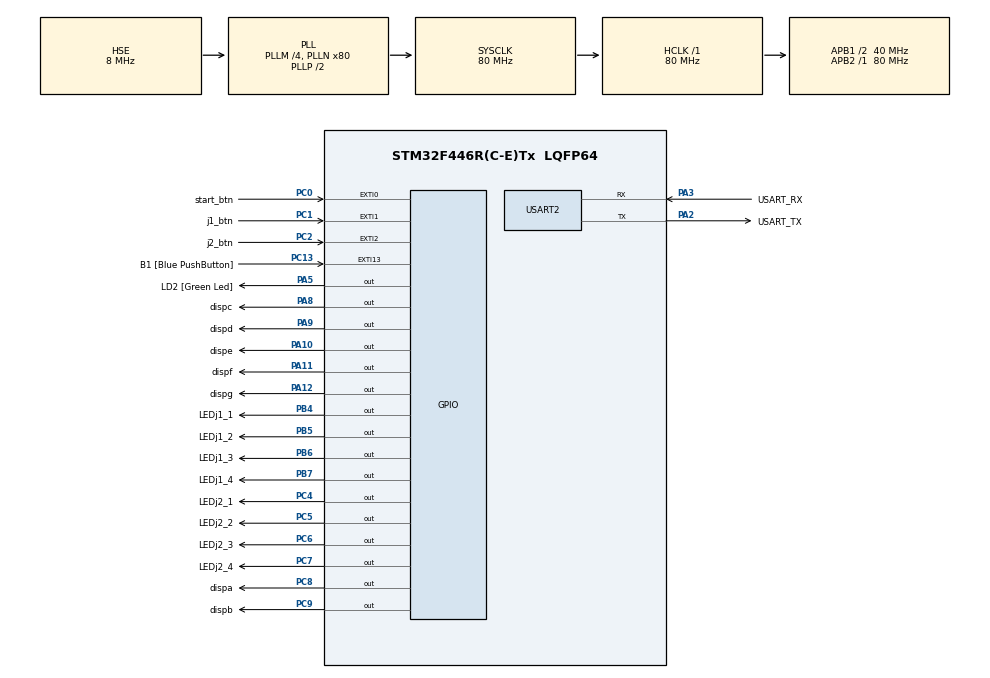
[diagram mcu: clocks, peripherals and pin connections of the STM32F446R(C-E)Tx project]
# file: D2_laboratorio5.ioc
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Mcu.Family=STM32F4
Mcu.Name=STM32F446R(C-E)Tx
Mcu.Package=LQFP64
NVIC.EXTI0_IRQn=true\:0\:0\:false\:false\:true\:true\:true\:true
NVIC.EXTI1_IRQn=true\:0\:0\:true\:false\:true\:true\:true\:true
NVIC.EXTI2_IRQn=true\:0\:0\:false\:false\:true\:true\:true\:true
NVIC.PriorityGroup=NVIC_PRIORITYGROUP_0
PA10.GPIO_Label=dispe
PA10.Signal=GPIO_Output
PA11.GPIO_Label=dispf
PA11.Signal=GPIO_Output
PA12.GPIO_Label=dispg
PA12.Signal=GPIO_Output
PA13.GPIO_Label=TMS
PA13.Mode=Serial_Wire
PA13.Signal=SYS_JTMS-SWDIO
PA14.GPIO_Label=TCK
PA14.Mode=Serial_Wire
PA14.Signal=SYS_JTCK-SWCLK
PA2.GPIO_Label=USART_TX
PA2.Mode=Asynchronous
PA2.Signal=USART2_TX
PA3.GPIO_Label=USART_RX
PA3.Mode=Asynchronous
PA3.Signal=USART2_RX
PA5.GPIO_Label=LD2 [Green Led]
PA5.Signal=GPIO_Output
PA8.GPIO_Label=dispc
PA8.Signal=GPIO_Output
PA9.GPIO_Label=dispd
PA9.Signal=GPIO_Output
PB3.GPIO_Label=SWO
PB3.Signal=SYS_JTDO-SWO
PB4.GPIO_Label=LEDj1_1
PB4.Signal=GPIO_Output
PB5.GPIO_Label=LEDj1_2
PB5.Signal=GPIO_Output
PB6.GPIO_Label=LEDj1_3
PB6.Signal=GPIO_Output
PB7.GPIO_Label=LEDj1_4
PB7.Signal=GPIO_Output
PC0.GPIO_Label=start_btn
PC0.GPIO_ModeDefaultEXTI=GPIO_MODE_IT_FALLING
PC0.GPIO_PuPd=GPIO_PULLUP
PC0.Signal=GPXTI0
PC1.GPIO_Label=j1_btn
PC1.GPIO_ModeDefaultEXTI=GPIO_MODE_IT_FALLING
PC1.GPIO_PuPd=GPIO_PULLUP
PC1.Signal=GPXTI1
PC13.GPIO_Label=B1 [Blue PushButton]
PC13.GPIO_ModeDefaultEXTI=GPIO_MODE_IT_FALLING
PC13.Signal=GPXTI13
PC14-OSC32_IN.Mode=LSE-External-Oscillator
PC14-OSC32_IN.Signal=RCC_OSC32_IN
PC15-OSC32_OUT.Mode=LSE-External-Oscillator
PC15-OSC32_OUT.Signal=RCC_OSC32_OUT
PC2.GPIO_Label=j2_btn
PC2.GPIO_ModeDefaultEXTI=GPIO_MODE_IT_FALLING
PC2.GPIO_PuPd=GPIO_PULLUP
PC2.Signal=GPXTI2
PC4.GPIO_Label=LEDj2_1
PC4.Signal=GPIO_Output
PC5.GPIO_Label=LEDj2_2
PC5.Signal=GPIO_Output
PC6.GPIO_Label=LEDj2_3
PC6.Signal=GPIO_Output
PC7.GPIO_Label=LEDj2_4
PC7.Signal=GPIO_Output
PC8.GPIO_Label=dispa
PC8.Signal=GPIO_Output
PC9.GPIO_Label=dispb
PC9.Signal=GPIO_Output
PH0-OSC_IN.Mode=HSE-External-Oscillator
PH0-OSC_IN.Signal=RCC_OSC_IN
PH1-OSC_OUT.Mode=HSE-External-Oscillator
PH1-OSC_OUT.Signal=RCC_OSC_OUT
ProjectManager.HeapSize=0x200
ProjectManager.StackSize=0x400
ProjectManager.TargetToolchain=STM32CubeIDE
RCC.48MHZClocksFreq_Value=84000000
RCC.AHBFreq_Value=80000000
RCC.APB1CLKDivider=RCC_HCLK_DIV2
RCC.APB1Freq_Value=40000000
RCC.APB1TimFreq_Value=80000000
RCC.APB2Freq_Value=80000000
RCC.APB2TimFreq_Value=80000000
RCC.CortexFreq_Value=80000000
RCC.FLatency-AdvancedSettings=FLASH_LATENCY_2
RCC.HCLKFreq_Value=80000000
RCC.HSE_VALUE=8000000
RCC.HSI_VALUE=16000000
RCC.PLLM=4
RCC.PLLN=80
RCC.PLLSourceVirtual=RCC_PLLSOURCE_HSE
RCC.SYSCLKFreq_VALUE=80000000
RCC.SYSCLKSource=RCC_SYSCLKSOURCE_PLLCLK
RCC.USBFreq_Value=80000000
RCC.VCOOutputFreq_Value=160000000
USART2.VirtualMode=VM_ASYNC
board=NUCLEO-F446RE

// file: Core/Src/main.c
/* USER CODE BEGIN Header */
/**
  ******************************************************************************
  * @file           : main.c
  * @brief          : Main program body
  ******************************************************************************
  * @attention
  *
  * Copyright (c) 2025 STMicroelectronics.
  * All rights reserved.
  *
  * This software is licensed under terms that can be found in the LICENSE file
  * in the root directory of this software component.
  * If no LICENSE file comes with this software, it is provided AS-IS.
  *
  ******************************************************************************
  */
/* USER CODE END Header */
#include "main.h"

UART_HandleTypeDef huart2;

/* USER CODE BEGIN PV */
uint16_t estado=0;
uint16_t start=0;
uint16_t sumar1=0;
uint16_t sumar2=0;
uint16_t contador_j1=0;
uint16_t contador_j2=0;
uint16_t disp=5;
/* USER CODE END PV */

void SystemClock_Config(void);
static void MX_GPIO_Init(void);
static void MX_USART2_UART_Init(void);
/* USER CODE BEGIN PFP */
void display(uint16_t numero);
/* USER CODE END PFP */

/* USER CODE BEGIN 0 */
void display(uint16_t numero){
	switch(numero){
	case 1:
		HAL_GPIO_WritePin(dispb_GPIO_Port, dispb_Pin, GPIO_PIN_SET);
		HAL_GPIO_WritePin(dispc_GPIO_Port, dispc_Pin, GPIO_PIN_SET);

		HAL_GPIO_WritePin(dispa_GPIO_Port, dispa_Pin, GPIO_PIN_RESET);
		HAL_GPIO_WritePin(dispf_GPIO_Port, dispf_Pin, GPIO_PIN_RESET);
		HAL_GPIO_WritePin(dispd_GPIO_Port, dispd_Pin, GPIO_PIN_RESET);
		HAL_GPIO_WritePin(dispe_GPIO_Port, dispe_Pin, GPIO_PIN_RESET);
		HAL_GPIO_WritePin(dispg_GPIO_Port, dispg_Pin, GPIO_PIN_RESET);
		break;
	case 2:
		HAL_GPIO_WritePin(dispa_GPIO_Port, dispa_Pin, GPIO_PIN_SET);
		HAL_GPIO_WritePin(dispb_GPIO_Port, dispb_Pin, GPIO_PIN_SET);
		HAL_GPIO_WritePin(dispd_GPIO_Port, dispd_Pin, GPIO_PIN_SET);
		HAL_GPIO_WritePin(dispe_GPIO_Port, dispe_Pin, GPIO_PIN_SET);
		HAL_GPIO_WritePin(dispg_GPIO_Port, dispg_Pin, GPIO_PIN_SET);

		HAL_GPIO_WritePin(dispc_GPIO_Port, dispc_Pin, GPIO_PIN_RESET);
		HAL_GPIO_WritePin(dispf_GPIO_Port, dispf_Pin, GPIO_PIN_RESET);
		break;
	case 3:
		HAL_GPIO_WritePin(dispa_GPIO_Port, dispa_Pin, GPIO_PIN_SET);
		HAL_GPIO_WritePin(dispb_GPIO_Port, dispb_Pin, GPIO_PIN_SET);
		HAL_GPIO_WritePin(dispc_GPIO_Port, dispc_Pin, GPIO_PIN_SET);
		HAL_GPIO_WritePin(dispd_GPIO_Port, dispd_Pin, GPIO_PIN_SET);
		HAL_GPIO_WritePin(dispg_GPIO_Port, dispg_Pin, GPIO_PIN_SET);

		HAL_GPIO_WritePin(dispe_GPIO_Port, dispe_Pin, GPIO_PIN_RESET);
		HAL_GPIO_WritePin(dispf_GPIO_Port, dispf_Pin, GPIO_PIN_RESET);
		break;
	case 4:
		HAL_GPIO_WritePin(dispb_GPIO_Port, dispb_Pin, GPIO_PIN_SET);
		HAL_GPIO_WritePin(dispc_GPIO_Port, dispc_Pin, GPIO_PIN_SET);
		HAL_GPIO_WritePin(dispf_GPIO_Port, dispf_Pin, GPIO_PIN_SET);
		HAL_GPIO_WritePin(dispg_GPIO_Port, dispg_Pin, GPIO_PIN_SET);

		HAL_GPIO_WritePin(dispa_GPIO_Port, dispa_Pin, GPIO_PIN_RESET);
		HAL_GPIO_WritePin(dispd_GPIO_Port, dispd_Pin, GPIO_PIN_RESET);
		HAL_GPIO_WritePin(dispe_GPIO_Port, dispe_Pin, GPIO_PIN_RESET);
		break;
	case 5:
		HAL_GPIO_WritePin(dispa_GPIO_Port, dispa_Pin, GPIO_PIN_SET);
		HAL_GPIO_WritePin(dispc_GPIO_Port, dispc_Pin, GPIO_PIN_SET);
		HAL_GPIO_WritePin(dispd_GPIO_Port, dispd_Pin, GPIO_PIN_SET);
		HAL_GPIO_WritePin(dispf_GPIO_Port, dispf_Pin, GPIO_PIN_SET);
		HAL_GPIO_WritePin(dispg_GPIO_Port, dispg_Pin, GPIO_PIN_SET);

		HAL_GPIO_WritePin(dispb_GPIO_Port, dispb_Pin, GPIO_PIN_RESET);
		HAL_GPIO_WritePin(dispe_GPIO_Port, dispe_Pin, GPIO_PIN_RESET);
		break;
	case 0:
		HAL_GPIO_WritePin(dispa_GPIO_Port, dispa_Pin, GPIO_PIN_SET);
		HAL_GPIO_WritePin(dispb_GPIO_Port, dispb_Pin, GPIO_PIN_SET);
		HAL_GPIO_WritePin(dispc_GPIO_Port, dispc_Pin, GPIO_PIN_SET);
		HAL_GPIO_WritePin(dispd_GPIO_Port, dispd_Pin, GPIO_PIN_SET);
		HAL_GPIO_WritePin(dispe_GPIO_Port, dispe_Pin, GPIO_PIN_SET);
		HAL_GPIO_WritePin(dispf_GPIO_Port, dispf_Pin, GPIO_PIN_SET);

		HAL_GPIO_WritePin(dispg_GPIO_Port, dispg_Pin, GPIO_PIN_RESET);
		break;
	}
}
/* USER CODE END 0 */

int main(void)
{

  /* MCU Configuration--------------------------------------------------------*/

  /* Reset of all peripherals, Initializes the Flash interface and the Systick. */
  HAL_Init();

  /* Configure the system clock */
  SystemClock_Config();

  /* Initialize all configured peripherals */
  MX_GPIO_Init();
  MX_USART2_UART_Init();

  /* Infinite loop */
  /* USER CODE BEGIN WHILE */
  while (1)
  {
	  if(estado==1){
		  estado=0;
		  for(int i=0;i<6;i++){
			  display(disp);
			  HAL_Delay(1000);
			  disp--;
		  }
		  HAL_GPIO_WritePin(LEDj1_1_GPIO_Port, LEDj1_1_Pin, GPIO_PIN_RESET);
		  HAL_GPIO_WritePin(LEDj1_2_GPIO_Port, LEDj1_2_Pin, GPIO_PIN_RESET);
		  HAL_GPIO_WritePin(LEDj1_3_GPIO_Port, LEDj1_3_Pin, GPIO_PIN_RESET);
		  HAL_GPIO_WritePin(LEDj1_4_GPIO_Port, LEDj1_4_Pin, GPIO_PIN_RESET);
		  HAL_GPIO_WritePin(LEDj2_1_GPIO_Port, LEDj2_1_Pin, GPIO_PIN_RESET);
		  HAL_GPIO_WritePin(LEDj2_2_GPIO_Port, LEDj2_2_Pin, GPIO_PIN_RESET);
		  HAL_GPIO_WritePin(LEDj2_3_GPIO_Port, LEDj2_3_Pin, GPIO_PIN_RESET);
		  HAL_GPIO_WritePin(LEDj2_4_GPIO_Port, LEDj2_4_Pin, GPIO_PIN_RESET);
		  start=1;
	  }
	  if (start==1){
		  if (sumar1==1){
			  contador_j1++;
			  switch(contador_j1){
			  case 1:
				  HAL_GPIO_WritePin(LEDj1_1_GPIO_Port, LEDj1_1_Pin, GPIO_PIN_SET);
				  HAL_GPIO_WritePin(LEDj1_2_GPIO_Port, LEDj1_2_Pin, GPIO_PIN_RESET);
				  HAL_GPIO_WritePin(LEDj1_3_GPIO_Port, LEDj1_3_Pin, GPIO_PIN_RESET);
				  HAL_GPIO_WritePin(LEDj1_4_GPIO_Port, LEDj1_4_Pin, GPIO_PIN_RESET);
				  break;
			  case 2:
				  HAL_GPIO_WritePin(LEDj1_1_GPIO_Port, LEDj1_1_Pin, GPIO_PIN_RESET);
				  HAL_GPIO_WritePin(LEDj1_2_GPIO_Port, LEDj1_2_Pin, GPIO_PIN_SET);
				  HAL_GPIO_WritePin(LEDj1_3_GPIO_Port, LEDj1_3_Pin, GPIO_PIN_RESET);
				  HAL_GPIO_WritePin(LEDj1_4_GPIO_Port, LEDj1_4_Pin, GPIO_PIN_RESET);
				  break;
			  case 3:
				  HAL_GPIO_WritePin(LEDj1_1_GPIO_Port, LEDj1_1_Pin, GPIO_PIN_RESET);
				  HAL_GPIO_WritePin(LEDj1_2_GPIO_Port, LEDj1_2_Pin, GPIO_PIN_RESET);
				  HAL_GPIO_WritePin(LEDj1_3_GPIO_Port, LEDj1_3_Pin, GPIO_PIN_SET);
				  HAL_GPIO_WritePin(LEDj1_4_GPIO_Port, LEDj1_4_Pin, GPIO_PIN_RESET);
				  break;
			  case 4:
				  HAL_GPIO_WritePin(LEDj1_1_GPIO_Port, LEDj1_1_Pin, GPIO_PIN_SET);
				  HAL_GPIO_WritePin(LEDj1_2_GPIO_Port, LEDj1_2_Pin, GPIO_PIN_SET);
				  HAL_GPIO_WritePin(LEDj1_3_GPIO_Port, LEDj1_3_Pin, GPIO_PIN_SET);
				  HAL_GPIO_WritePin(LEDj1_4_GPIO_Port, LEDj1_4_Pin, GPIO_PIN_SET);
				  display(1);
				  start=0;
				  HAL_GPIO_WritePin(LEDj2_1_GPIO_Port, LEDj2_1_Pin, GPIO_PIN_RESET);
				  HAL_GPIO_WritePin(LEDj2_2_GPIO_Port, LEDj2_2_Pin, GPIO_PIN_RESET);
				  HAL_GPIO_WritePin(LEDj2_3_GPIO_Port, LEDj2_3_Pin, GPIO_PIN_RESET);
				  HAL_GPIO_WritePin(LEDj2_4_GPIO_Port, LEDj2_4_Pin, GPIO_PIN_RESET);
				  break;
			  }
			  sumar1=0;
		  }
		  if(sumar2==1){
			  contador_j2++;
			  switch(contador_j2){
			  case 1:
				  HAL_GPIO_WritePin(LEDj2_1_GPIO_Port, LEDj2_1_Pin, GPIO_PIN_SET);
				  HAL_GPIO_WritePin(LEDj2_2_GPIO_Port, LEDj2_2_Pin, GPIO_PIN_RESET);
				  HAL_GPIO_WritePin(LEDj2_3_GPIO_Port, LEDj2_3_Pin, GPIO_PIN_RESET);
				  HAL_GPIO_WritePin(LEDj2_4_GPIO_Port, LEDj2_4_Pin, GPIO_PIN_RESET);
				  break;
			  case 2:
				  HAL_GPIO_WritePin(LEDj2_1_GPIO_Port, LEDj2_1_Pin, GPIO_PIN_RESET);
				  HAL_GPIO_WritePin(LEDj2_2_GPIO_Port, LEDj2_2_Pin, GPIO_PIN_SET);
				  HAL_GPIO_WritePin(LEDj2_3_GPIO_Port, LEDj2_3_Pin, GPIO_PIN_RESET);
				  HAL_GPIO_WritePin(LEDj2_4_GPIO_Port, LEDj2_4_Pin, GPIO_PIN_RESET);
				  break;
			  case 3:
				  HAL_GPIO_WritePin(LEDj2_1_GPIO_Port, LEDj2_1_Pin, GPIO_PIN_RESET);
				  HAL_GPIO_WritePin(LEDj2_2_GPIO_Port, LEDj2_2_Pin, GPIO_PIN_RESET);
				  HAL_GPIO_WritePin(LEDj2_3_GPIO_Port, LEDj2_3_Pin, GPIO_PIN_SET);
				  HAL_GPIO_WritePin(LEDj2_4_GPIO_Port, LEDj2_4_Pin, GPIO_PIN_RESET);
				  break;
			  case 4:
				  HAL_GPIO_WritePin(LEDj2_1_GPIO_Port, LEDj2_1_Pin, GPIO_PIN_SET);
				  HAL_GPIO_WritePin(LEDj2_2_GPIO_Port, LEDj2_2_Pin, GPIO_PIN_SET);
				  HAL_GPIO_WritePin(LEDj2_3_GPIO_Port, LEDj2_3_Pin, GPIO_PIN_SET);
				  HAL_GPIO_WritePin(LEDj2_4_GPIO_Port, LEDj2_4_Pin, GPIO_PIN_SET);
				  display(2);
				  start=0;
				  HAL_GPIO_WritePin(LEDj1_1_GPIO_Port, LEDj1_1_Pin, GPIO_PIN_RESET);
				  HAL_GPIO_WritePin(LEDj1_2_GPIO_Port, LEDj1_2_Pin, GPIO_PIN_RESET);
				  HAL_GPIO_WritePin(LEDj1_3_GPIO_Port, LEDj1_3_Pin, GPIO_PIN_RESET);
				  HAL_GPIO_WritePin(LEDj1_4_GPIO_Port, LEDj1_4_Pin, GPIO_PIN_RESET);
				  break;
			  }
			  sumar2=0;
		  }
	  }
    /* USER CODE END WHILE */

  }
}

void SystemClock_Config(void)
{
  RCC_OscInitTypeDef RCC_OscInitStruct = {0};
  RCC_ClkInitTypeDef RCC_ClkInitStruct = {0};

  /** Configure the main internal regulator output voltage
  */
  __HAL_RCC_PWR_CLK_ENABLE();
  __HAL_PWR_VOLTAGESCALING_CONFIG(PWR_REGULATOR_VOLTAGE_SCALE3);

  /** Initializes the RCC Oscillators according to the specified parameters
  * in the RCC_OscInitTypeDef structure.
  */
  RCC_OscInitStruct.OscillatorType = RCC_OSCILLATORTYPE_HSE;
  RCC_OscInitStruct.HSEState = RCC_HSE_ON;
  RCC_OscInitStruct.PLL.PLLState = RCC_PLL_ON;
  RCC_OscInitStruct.PLL.PLLSource = RCC_PLLSOURCE_HSE;
  RCC_OscInitStruct.PLL.PLLM = 4;
  RCC_OscInitStruct.PLL.PLLN = 80;
  RCC_OscInitStruct.PLL.PLLP = RCC_PLLP_DIV2;
  RCC_OscInitStruct.PLL.PLLQ = 2;
  RCC_OscInitStruct.PLL.PLLR = 2;
  if (HAL_RCC_OscConfig(&RCC_OscInitStruct) != HAL_OK)
  {
    Error_Handler();
  }

  /** Initializes the CPU, AHB and APB buses clocks
  */
  RCC_ClkInitStruct.ClockType = RCC_CLOCKTYPE_HCLK|RCC_CLOCKTYPE_SYSCLK
                              |RCC_CLOCKTYPE_PCLK1|RCC_CLOCKTYPE_PCLK2;
  RCC_ClkInitStruct.SYSCLKSource = RCC_SYSCLKSOURCE_PLLCLK;
  RCC_ClkInitStruct.AHBCLKDivider = RCC_SYSCLK_DIV1;
  RCC_ClkInitStruct.APB1CLKDivider = RCC_HCLK_DIV2;
  RCC_ClkInitStruct.APB2CLKDivider = RCC_HCLK_DIV1;

  if (HAL_RCC_ClockConfig(&RCC_ClkInitStruct, FLASH_LATENCY_2) != HAL_OK)
  {
    Error_Handler();
  }
}

static void MX_USART2_UART_Init(void)
{

  huart2.Instance = USART2;
  huart2.Init.BaudRate = 115200;
  huart2.Init.WordLength = UART_WORDLENGTH_8B;
  huart2.Init.StopBits = UART_STOPBITS_1;
  huart2.Init.Parity = UART_PARITY_NONE;
  huart2.Init.Mode = UART_MODE_TX_RX;
  huart2.Init.HwFlowCtl = UART_HWCONTROL_NONE;
  huart2.Init.OverSampling = UART_OVERSAMPLING_16;
  if (HAL_UART_Init(&huart2) != HAL_OK)
  {
    Error_Handler();
  }

}

static void MX_GPIO_Init(void)
{
  GPIO_InitTypeDef GPIO_InitStruct = {0};

  /* GPIO Ports Clock Enable */
  __HAL_RCC_GPIOC_CLK_ENABLE();
  __HAL_RCC_GPIOH_CLK_ENABLE();
  __HAL_RCC_GPIOA_CLK_ENABLE();
  __HAL_RCC_GPIOB_CLK_ENABLE();

  /*Configure GPIO pin Output Level */
  HAL_GPIO_WritePin(GPIOA, LD2_Pin|dispc_Pin|dispd_Pin|dispe_Pin
                          |dispf_Pin|dispg_Pin, GPIO_PIN_RESET);

  /*Configure GPIO pin Output Level */
  HAL_GPIO_WritePin(GPIOC, LEDj2_1_Pin|LEDj2_2_Pin|LEDj2_3_Pin|LEDj2_4_Pin
                          |dispa_Pin|dispb_Pin, GPIO_PIN_RESET);

  /*Configure GPIO pin Output Level */
  HAL_GPIO_WritePin(GPIOB, LEDj1_1_Pin|LEDj1_2_Pin|LEDj1_3_Pin|LEDj1_4_Pin, GPIO_PIN_RESET);

  /*Configure GPIO pin : B1_Pin */
  GPIO_InitStruct.Pin = B1_Pin;
  GPIO_InitStruct.Mode = GPIO_MODE_IT_FALLING;
  GPIO_InitStruct.Pull = GPIO_NOPULL;
  HAL_GPIO_Init(B1_GPIO_Port, &GPIO_InitStruct);

  /*Configure GPIO pins : start_btn_Pin j1_btn_Pin j2_btn_Pin */
  GPIO_InitStruct.Pin = start_btn_Pin|j1_btn_Pin|j2_btn_Pin;
  GPIO_InitStruct.Mode = GPIO_MODE_IT_FALLING;
  GPIO_InitStruct.Pull = GPIO_PULLUP;
  HAL_GPIO_Init(GPIOC, &GPIO_InitStruct);

  /*Configure GPIO pins : LD2_Pin dispc_Pin dispd_Pin dispe_Pin
                           dispf_Pin dispg_Pin */
  GPIO_InitStruct.Pin = LD2_Pin|dispc_Pin|dispd_Pin|dispe_Pin
                          |dispf_Pin|dispg_Pin;
  GPIO_InitStruct.Mode = GPIO_MODE_OUTPUT_PP;
  GPIO_InitStruct.Pull = GPIO_NOPULL;
  GPIO_InitStruct.Speed = GPIO_SPEED_FREQ_LOW;
  HAL_GPIO_Init(GPIOA, &GPIO_InitStruct);

  /*Configure GPIO pins : LEDj2_1_Pin LEDj2_2_Pin LEDj2_3_Pin LEDj2_4_Pin
                           dispa_Pin dispb_Pin */
  GPIO_InitStruct.Pin = LEDj2_1_Pin|LEDj2_2_Pin|LEDj2_3_Pin|LEDj2_4_Pin
                          |dispa_Pin|dispb_Pin;
  GPIO_InitStruct.Mode = GPIO_MODE_OUTPUT_PP;
  GPIO_InitStruct.Pull = GPIO_NOPULL;
  GPIO_InitStruct.Speed = GPIO_SPEED_FREQ_LOW;
  HAL_GPIO_Init(GPIOC, &GPIO_InitStruct);

  /*Configure GPIO pins : LEDj1_1_Pin LEDj1_2_Pin LEDj1_3_Pin LEDj1_4_Pin */
  GPIO_InitStruct.Pin = LEDj1_1_Pin|LEDj1_2_Pin|LEDj1_3_Pin|LEDj1_4_Pin;
  GPIO_InitStruct.Mode = GPIO_MODE_OUTPUT_PP;
  GPIO_InitStruct.Pull = GPIO_NOPULL;
  GPIO_InitStruct.Speed = GPIO_SPEED_FREQ_LOW;
  HAL_GPIO_Init(GPIOB, &GPIO_InitStruct);

  /* EXTI interrupt init*/
  HAL_NVIC_SetPriority(EXTI0_IRQn, 0, 0);
  HAL_NVIC_EnableIRQ(EXTI0_IRQn);

  HAL_NVIC_SetPriority(EXTI1_IRQn, 0, 0);
  HAL_NVIC_EnableIRQ(EXTI1_IRQn);

  HAL_NVIC_SetPriority(EXTI2_IRQn, 0, 0);
  HAL_NVIC_EnableIRQ(EXTI2_IRQn);

}

/* USER CODE BEGIN 4 */
void HAL_GPIO_EXTI_Callback(uint16_t GPIO_Pin){
	if(GPIO_Pin==start_btn_Pin){
		estado=1;
		contador_j1=0;
		contador_j2=0;
		sumar1=0;
		sumar2=0;
		disp=5;
	}
	else if(GPIO_Pin==j1_btn_Pin){
		sumar1=1;
	}
	else if(GPIO_Pin==j2_btn_Pin){
		sumar2=1;
	}
}
/* USER CODE END 4 */

void Error_Handler(void)
{
  __disable_irq();
  while (1)
  {
  }
}
